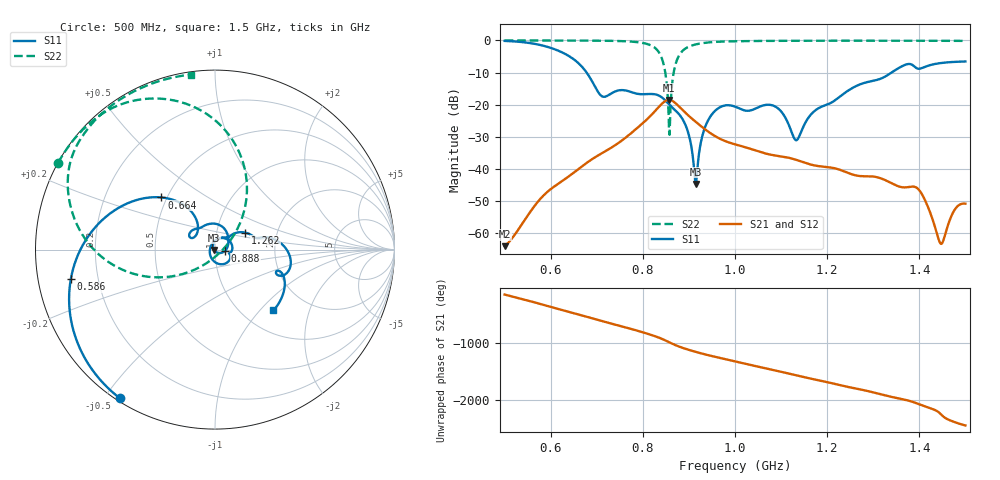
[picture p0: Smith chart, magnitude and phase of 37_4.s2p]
! TOUCHSTONE file generated by CST MICROWAVE STUDIO
! Date and time: Fri Oct  2 17:00:37 2020
! Project name: Scenario_1_Free_Space_out_of_line.cst
! Parameters = {Lambda=346.42; Step_1=17.321; dy1=-276.636; dx1=693; L_HA=400; MT=2.54; Rad_Dielectric=30; Rad_Lower=7.3; Rad_Upper=30; a_HA=580; a_WG=246; b_HA=500; b_WG=121; c_HA=0; c_WG=187; d_feed=85; h_feed=15; h_lower=18; h_upper=40}
! Header version: 2018
! Port assignment regex: !\s*Touchstone port\s*([0-9]+)\s*=\s*(CST MWS port|CST DS port)\s*([0-9]+|Zmin|Zmax)\s*\(\"(.*)\"\)(\s*mode\s*([0-9]+))?.*
! Touchstone port assignment:
! Touchstone port 1 = CST MWS port 1 ("")
! Touchstone port 2 = CST MWS port 2 ("")
# GHz S DB R 50
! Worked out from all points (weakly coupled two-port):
!   1003 points, 500 MHz to 1.5 GHz, reference 50 ohm
!   highest |S21| = -18.52 dB at 857 MHz (marker M1); lowest = -64.1 dB at 500 MHz (marker M2)
!   lowest |S11| = -44.7 dB at 915 MHz (marker M3), VSWR 1.01, Z = 49.5 - j0.276 ohm
!   |S11| at or under -10 dB: 678 MHz to 1.34 GHz (661.8 MHz wide, 65.6 % of centre)
!   |S22| runs from -29.4 to 0.0 dB; largest |S21 - S12| = 6.7e-05
!   S11 on the Smith chart (normalised r, x): 500 MHz: 0.01, -0.55; 586 MHz: 0.10, -0.10; 664 MHz: 0.47, +0.33; 888 MHz: 1.12, -0.02; 1.262 GHz: 1.37, +0.27; 1.5 GHz: 1.37, -1.19
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0.5  -0.15 -122.6  -64.08 -129.9  -64.08 -129.9  -0.01 151.2
0.586  -1.72 -168.4  -48.07 42.7  -48.08 42.7  -0.02 145.2
0.664  -7.60 135.8  -39.65 -133.1  -39.65 -133.1  -0.04 138.6
0.667  -8.05 133.5  -39.32 -140.0  -39.32 -140.0  -0.04 138.3
0.713  -17.50 140.2  -34.97 113.9  -34.97 113.9  -0.09 133.2
0.789  -16.64 125.6  -27.13 -55.8  -27.13 -55.8  -0.56 117.2
0.834  -17.12 79.8  -20.83 -174.9  -20.83 -174.9  -3.52 85.1
0.846  -18.32 59.9  -19.15 143.9  -19.15 143.9  -7.99 63.5
0.857  -19.93 43.8  -18.52 101.0  -18.52 101.0  -28.43 -9.9
0.869  -21.56 27.2  -19.31 55.3  -19.31 55.3  -8.54 -155.7
0.888  -24.99 -6.8  -21.92 -4.1  -21.92 -4.1  -3.00 177.0
0.915  -44.70 -151.3  -25.39 -71.8  -25.39 -71.8  -1.23 160.0
0.944  -24.27 75.5  -28.62 -134.3  -28.62 -134.3  -0.60 150.5
1  -20.61 -4.6  -32.36 120.7  -32.36 120.7  -0.26 140.2
1.087  -20.56 -59.3  -35.84 -41.6  -35.84 -41.6  -0.13 130.8
1.133  -31.08 165.3  -37.20 -129.8  -37.20 -129.8  -0.11 126.9
1.167  -22.72 63.6  -38.76 168.9  -38.76 168.9  -0.09 124.2
1.262  -14.27 29.3  -42.03 -3.9  -42.03 -3.9  -0.08 116.9
1.334  -10.54 13.3  -44.05 -142.2  -44.05 -142.2  -0.09 111.5
1.399  -8.83 -20.0  -46.50 77.2  -46.50 77.2  -0.10 106.4
1.447  -7.04 -29.8  -63.37 -103.4  -63.35 -103.5  -0.12 102.5
1.5  -6.56 -46.1  -50.83 58.1  -50.91 58.7  -0.14 97.9
